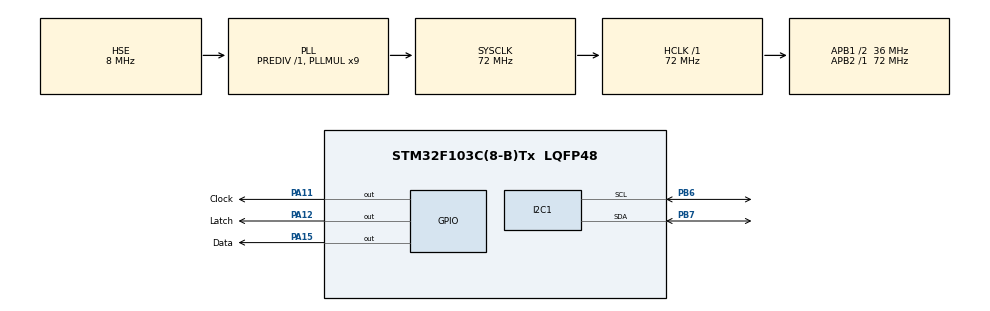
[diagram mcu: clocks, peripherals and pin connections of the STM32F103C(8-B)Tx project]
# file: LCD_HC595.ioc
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Mcu.Family=STM32F1
Mcu.Name=STM32F103C(8-B)Tx
Mcu.Package=LQFP48
NVIC.PriorityGroup=NVIC_PRIORITYGROUP_4
PA11.GPIO_Label=Clock
PA11.GPIO_PuPd=GPIO_NOPULL
PA11.GPIO_Speed=GPIO_SPEED_FREQ_HIGH
PA11.Signal=GPIO_Output
PA12.GPIO_Label=Latch
PA12.GPIO_PuPd=GPIO_NOPULL
PA12.GPIO_Speed=GPIO_SPEED_FREQ_HIGH
PA12.Signal=GPIO_Output
PA13.Mode=Serial_Wire
PA13.Signal=SYS_JTMS-SWDIO
PA14.Mode=Serial_Wire
PA14.Signal=SYS_JTCK-SWCLK
PA15.GPIO_Label=Data
PA15.GPIO_PuPd=GPIO_NOPULL
PA15.GPIO_Speed=GPIO_SPEED_FREQ_HIGH
PA15.Signal=GPIO_Output
PB6.Mode=I2C
PB6.Signal=I2C1_SCL
PB7.Mode=I2C
PB7.Signal=I2C1_SDA
PD0-OSC_IN.Mode=HSE-External-Oscillator
PD0-OSC_IN.Signal=RCC_OSC_IN
PD1-OSC_OUT.Mode=HSE-External-Oscillator
PD1-OSC_OUT.Signal=RCC_OSC_OUT
ProjectManager.HeapSize=0x200
ProjectManager.StackSize=0x400
ProjectManager.TargetToolchain=STM32CubeIDE
RCC.AHBFreq_Value=72000000
RCC.APB1CLKDivider=RCC_HCLK_DIV2
RCC.APB1Freq_Value=36000000
RCC.APB1TimFreq_Value=72000000
RCC.APB2Freq_Value=72000000
RCC.APB2TimFreq_Value=72000000
RCC.HCLKFreq_Value=72000000
RCC.PLLMUL=RCC_PLL_MUL9
RCC.PLLSourceVirtual=RCC_PLLSOURCE_HSE
RCC.SYSCLKFreq_VALUE=72000000
RCC.SYSCLKSource=RCC_SYSCLKSOURCE_PLLCLK
RCC.USBFreq_Value=72000000
board=custom

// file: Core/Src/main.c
/* USER CODE BEGIN Header */
/**
  ******************************************************************************
  * @file           : main.c
  * @brief          : Main program body
  ******************************************************************************
  * @attention
  *
  * Copyright (c) 2023 STMicroelectronics.
  * All rights reserved.
  *
  * This software is licensed under terms that can be found in the LICENSE file
  * in the root directory of this software component.
  * If no LICENSE file comes with this software, it is provided AS-IS.
  *
  ******************************************************************************
  */
/* USER CODE END Header */
#include "main.h"

/* USER CODE BEGIN Includes */
#include <stdio.h>
#include <string.h>
#include <stdlib.h>
#include <stdbool.h>
#include "lcd_screw.h"
/* USER CODE END Includes */

I2C_HandleTypeDef hi2c1;

void SystemClock_Config(void);
static void MX_GPIO_Init(void);
static void MX_I2C1_Init(void);

/* USER CODE BEGIN 0 */
hc595_t conf = {
	.CLK_Port = Clock_GPIO_Port,
	.CLK_Pin = Clock_Pin,
	.LATCH_Port = Latch_GPIO_Port,
	.LATCH_Pin = Latch_Pin,
	.DATA_Port = Data_GPIO_Port,
	.DATA_Pin = Data_Pin,
};
/* USER CODE END 0 */

int main(void)
{

  /* MCU Configuration--------------------------------------------------------*/

  /* Reset of all peripherals, Initializes the Flash interface and the Systick. */
  HAL_Init();

  /* Configure the system clock */
  SystemClock_Config();

  /* Initialize all configured peripherals */
  MX_GPIO_Init();
  MX_I2C1_Init();
  /* USER CODE BEGIN 2 */
  hc595_int(&conf);
  lcd_Init();
  /* USER CODE END 2 */

  /* Infinite loop */
  while (1)
  {

    /* USER CODE BEGIN 3 */
	screw_Set_Show(10);
  }
  /* USER CODE END 3 */
}

void SystemClock_Config(void)
{
  RCC_OscInitTypeDef RCC_OscInitStruct = {0};
  RCC_ClkInitTypeDef RCC_ClkInitStruct = {0};

  /** Initializes the RCC Oscillators according to the specified parameters
  * in the RCC_OscInitTypeDef structure.
  */
  RCC_OscInitStruct.OscillatorType = RCC_OSCILLATORTYPE_HSE;
  RCC_OscInitStruct.HSEState = RCC_HSE_ON;
  RCC_OscInitStruct.HSEPredivValue = RCC_HSE_PREDIV_DIV1;
  RCC_OscInitStruct.HSIState = RCC_HSI_ON;
  RCC_OscInitStruct.PLL.PLLState = RCC_PLL_ON;
  RCC_OscInitStruct.PLL.PLLSource = RCC_PLLSOURCE_HSE;
  RCC_OscInitStruct.PLL.PLLMUL = RCC_PLL_MUL9;
  if (HAL_RCC_OscConfig(&RCC_OscInitStruct) != HAL_OK)
  {
    Error_Handler();
  }

  /** Initializes the CPU, AHB and APB buses clocks
  */
  RCC_ClkInitStruct.ClockType = RCC_CLOCKTYPE_HCLK|RCC_CLOCKTYPE_SYSCLK
                              |RCC_CLOCKTYPE_PCLK1|RCC_CLOCKTYPE_PCLK2;
  RCC_ClkInitStruct.SYSCLKSource = RCC_SYSCLKSOURCE_PLLCLK;
  RCC_ClkInitStruct.AHBCLKDivider = RCC_SYSCLK_DIV1;
  RCC_ClkInitStruct.APB1CLKDivider = RCC_HCLK_DIV2;
  RCC_ClkInitStruct.APB2CLKDivider = RCC_HCLK_DIV1;

  if (HAL_RCC_ClockConfig(&RCC_ClkInitStruct, FLASH_LATENCY_2) != HAL_OK)
  {
    Error_Handler();
  }
}

static void MX_I2C1_Init(void)
{

  hi2c1.Instance = I2C1;
  hi2c1.Init.ClockSpeed = 100000;
  hi2c1.Init.DutyCycle = I2C_DUTYCYCLE_2;
  hi2c1.Init.OwnAddress1 = 0;
  hi2c1.Init.AddressingMode = I2C_ADDRESSINGMODE_7BIT;
  hi2c1.Init.DualAddressMode = I2C_DUALADDRESS_DISABLE;
  hi2c1.Init.OwnAddress2 = 0;
  hi2c1.Init.GeneralCallMode = I2C_GENERALCALL_DISABLE;
  hi2c1.Init.NoStretchMode = I2C_NOSTRETCH_DISABLE;
  if (HAL_I2C_Init(&hi2c1) != HAL_OK)
  {
    Error_Handler();
  }

}

static void MX_GPIO_Init(void)
{
  GPIO_InitTypeDef GPIO_InitStruct = {0};

  /* GPIO Ports Clock Enable */
  __HAL_RCC_GPIOD_CLK_ENABLE();
  __HAL_RCC_GPIOA_CLK_ENABLE();
  __HAL_RCC_GPIOB_CLK_ENABLE();

  /*Configure GPIO pin Output Level */
  HAL_GPIO_WritePin(GPIOA, Clock_Pin|Latch_Pin|Data_Pin, GPIO_PIN_RESET);

  /*Configure GPIO pins : Clock_Pin Latch_Pin Data_Pin */
  GPIO_InitStruct.Pin = Clock_Pin|Latch_Pin|Data_Pin;
  GPIO_InitStruct.Mode = GPIO_MODE_OUTPUT_PP;
  GPIO_InitStruct.Pull = GPIO_NOPULL;
  GPIO_InitStruct.Speed = GPIO_SPEED_FREQ_HIGH;
  HAL_GPIO_Init(GPIOA, &GPIO_InitStruct);

}

void Error_Handler(void)
{
  __disable_irq();
  while (1)
  {
  }
}
